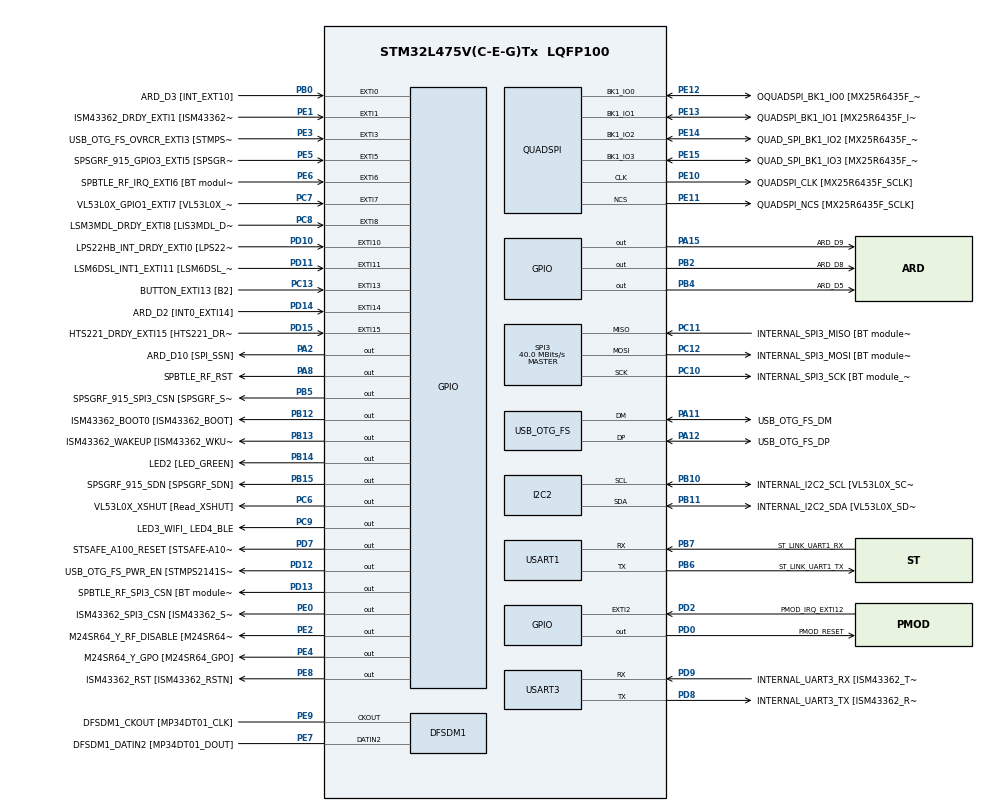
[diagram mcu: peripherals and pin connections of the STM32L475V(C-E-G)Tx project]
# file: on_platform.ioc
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Mcu.Family=STM32L4
Mcu.Name=STM32L475V(C-E-G)Tx
Mcu.Package=LQFP100
NVIC.EXTI15_10_IRQn=true\:0\:0\:false\:false\:true\:true\:true\:true
NVIC.EXTI9_5_IRQn=true\:0\:0\:false\:false\:true\:true\:true\:true
NVIC.PriorityGroup=NVIC_PRIORITYGROUP_4
PA0.GPIO_Label=ARD_D1 [UART4_TX]
PA0.Signal=UART4_TX
PA1.GPIO_Label=ARD_D0 [UART4_RX]
PA1.Signal=UART4_RX
PA10.GPIO_Label=USB_OTG_FS_ID
PA10.Signal=USB_OTG_FS_ID
PA11.GPIO_Label=USB_OTG_FS_DM
PA11.Mode=Device_Only
PA11.Signal=USB_OTG_FS_DM
PA12.GPIO_Label=USB_OTG_FS_DP
PA12.Mode=Device_Only
PA12.Signal=USB_OTG_FS_DP
PA13\ (JTMS-SWDIO).GPIO_Label=SYS_JTMS_SWDIO
PA13\ (JTMS-SWDIO).Mode=Serial_Wire
PA13\ (JTMS-SWDIO).Signal=SYS_JTMS-SWDIO
PA14\ (JTCK-SWCLK).GPIO_Label=SYS_JTCK_SWCLK
PA14\ (JTCK-SWCLK).Mode=Serial_Wire
PA14\ (JTCK-SWCLK).Signal=SYS_JTCK-SWCLK
PA15\ (JTDI).GPIO_Label=ARD_D9
PA15\ (JTDI).Signal=GPIO_Output
PA2.GPIO_Label=ARD_D10 [SPI_SSN]
PA2.Signal=GPIO_Output
PA3.GPIO_Label=ARD_D4
PA3.Signal=S_TIM2_CH4
PA4.GPIO_Label=ARD_D7
PA4.Signal=ADCx_IN9
PA5.GPIO_Label=ARD_D13 [SPI1_SCK]
PA5.Signal=SPI1_SCK
PA6.GPIO_Label=ARD_D12 [SPI1_MISO]
PA6.Signal=SPI1_MISO
PA7.GPIO_Label=ARD_D11 [SPI1_MOSI]
PA7.Signal=SPI1_MOSI
PA8.GPIO_Label=SPBTLE_RF_RST
PA8.Signal=GPIO_Output
PA9.GPIO_Label=USB_OTG_FS_VBUS [STMPS2141STR_OUT]
PA9.Signal=USB_OTG_FS_VBUS
PB0.GPIO_Label=ARD_D3 [INT_EXT10]
PB0.Signal=GPXTI0
PB1.GPIO_Label=ARD_D6 [ADC1_IN6]
PB1.Signal=ADCx_IN16
PB10.GPIO_Label=INTERNAL_I2C2_SCL [VL53L0X_SCL]
PB10.GPIO_Pu=GPIO_PULLUP
PB10.Mode=I2C
PB10.Signal=I2C2_SCL
PB11.GPIO_Label=INTERNAL_I2C2_SDA [VL53L0X_SDA]
PB11.GPIO_Pu=GPIO_PULLUP
PB11.Mode=I2C
PB11.Signal=I2C2_SDA
PB12.GPIO_Label=ISM43362_BOOT0 [ISM43362_BOOT]
PB12.Signal=GPIO_Output
PB13.GPIO_Label=ISM43362_WAKEUP [ISM43362_WKUP]
PB13.Signal=GPIO_Output
PB14.GPIO_Label=LED2 [LED_GREEN]
PB14.Signal=GPIO_Output
PB15.GPIO_Label=SPSGRF_915_SDN [SPSGRF_SDN]
PB15.Signal=GPIO_Output
PB2.GPIO_Label=ARD_D8
PB2.Signal=GPIO_Output
PB3\ (JTDO-TRACESWO).GPIO_Label=SYS_JTD0_SWO
PB3\ (JTDO-TRACESWO).Signal=SYS_JTDO-SWO
PB4\ (NJTRST).GPIO_Label=ARD_D5
PB4\ (NJTRST).Signal=GPIO_Output
PB5.GPIO_Label=SPSGRF_915_SPI3_CSN [SPSGRF_SPI_CS]
PB5.PinState=GPIO_PIN_SET
PB5.Signal=GPIO_Output
PB6.GPIO_Label=ST_LINK_UART1_TX
PB6.Mode=Asynchronous
PB6.Signal=USART1_TX
PB7.GPIO_Label=ST_LINK_UART1_RX
PB7.Mode=Asynchronous
PB7.Signal=USART1_RX
PB8.GPIO_Label=ARD_D15 [I2C1_SCL]
PB8.Signal=I2C1_SCL
PB9.GPIO_Label=ARD_D14 [I2C1_SDA]
PB9.Signal=I2C1_SDA
PC0.GPIO_Label=ARD_A5 [ADC]
PC0.Signal=ADCx_IN1
PC1.GPIO_Label=ARD_A4 [ADC]
PC1.Signal=ADCx_IN2
PC10.GPIO_Label=INTERNAL_SPI3_SCK [BT module_SPI_SCLK] [ISM43362_SCK]
PC10.Mode=Full_Duplex_Master
PC10.Signal=SPI3_SCK
PC11.GPIO_Label=INTERNAL_SPI3_MISO [BT module_SPI_MISO] [ISM43362_MISO]
PC11.Mode=Full_Duplex_Master
PC11.Signal=SPI3_MISO
PC12.GPIO_Label=INTERNAL_SPI3_MOSI [BT module_SPI_MOSI] [ISM43362_MOSI]
PC12.Mode=Full_Duplex_Master
PC12.Signal=SPI3_MOSI
PC13.GPIO_Label=BUTTON_EXTI13 [B2]
PC13.GPIO_ModeDefaultEXTI=GPIO_MODE_IT_FALLING
PC13.Signal=GPXTI13
PC14-OSC32_IN\ (PC14).Mode=LSE-External-Oscillator
PC14-OSC32_IN\ (PC14).Signal=RCC_OSC32_IN
PC15-OSC32_OUT\ (PC15).Mode=LSE-External-Oscillator
PC15-OSC32_OUT\ (PC15).Signal=RCC_OSC32_OUT
PC2.GPIO_Label=ARD_A3 [ADC]
PC2.Signal=ADCx_IN3
PC3.GPIO_Label=ARD_A2 [ADC]
PC3.Signal=ADCx_IN4
PC4.GPIO_Label=ARD_A1 [ADC]
PC4.Signal=ADCx_IN13
PC5.GPIO_Label=ARD_A0 [ADC]
PC5.Signal=ADCx_IN14
PC6.GPIO_Label=VL53L0X_XSHUT [Read_XSHUT]
PC6.Signal=GPIO_Output
PC7.GPIO_Label=VL53L0X_GPIO1_EXTI7 [VL53L0X_GPIO1]
PC7.Signal=GPXTI7
PC8.GPIO_Label=LSM3MDL_DRDY_EXTI8 [LIS3MDL_DRDY]
PC8.Signal=GPXTI8
PC9.GPIO_Label=LED3_WIFI_ LED4_BLE
PC9.Signal=GPIO_Output
PD0.GPIO_Label=PMOD_RESET
PD0.Signal=GPIO_Output
PD1.GPIO_Label=PMOD_SPI2_SCK
PD1.Signal=SPI2_SCK
PD10.GPIO_Label=LPS22HB_INT_DRDY_EXTI0 [LPS22HB_INT_DRDY] 
PD10.Signal=GPXTI10
PD11.GPIO_Label=LSM6DSL_INT1_EXTI11 [LSM6DSL_INT1]
PD11.Signal=GPXTI11
PD12.GPIO_Label=USB_OTG_FS_PWR_EN [STMPS2141STR_EN]
PD12.Signal=GPIO_Output
PD13.GPIO_Label=SPBTLE_RF_SPI3_CSN [BT module_SPI_CS]
PD13.PinState=GPIO_PIN_SET
PD13.Signal=GPIO_Output
PD14.GPIO_Label=ARD_D2 [INT0_EXTI14]
PD14.Signal=GPXTI14
PD15.GPIO_Label=HTS221_DRDY_EXTI15 [HTS221_DRDY]
PD15.Signal=GPXTI15
PD2.GPIO_Label=PMOD_IRQ_EXTI12
PD2.Signal=GPXTI2
PD3.GPIO_Label=PMOD_UART2_CTS
PD3.Signal=USART2_CTS
PD4.GPIO_Label=PMOD_UART2_RTS
PD4.Signal=USART2_RTS
PD5.GPIO_Label=PMOD_UART2_TX
PD5.Signal=USART2_TX
PD6.GPIO_Label=PMOD_UART2_RX
PD6.Signal=USART2_RX
PD7.GPIO_Label=STSAFE_A100_RESET [STSAFE-A100_RESET]
PD7.Signal=GPIO_Output
PD8.GPIO_Label=INTERNAL_UART3_TX [ISM43362_RX]
PD8.Mode=Asynchronous
PD8.Signal=USART3_TX
PD9.GPIO_Label=INTERNAL_UART3_RX [ISM43362_TX]
PD9.Mode=Asynchronous
PD9.Signal=USART3_RX
PE0.GPIO_Label=ISM43362_SPI3_CSN [ISM43362_SSN]
PE0.PinState=GPIO_PIN_SET
PE0.Signal=GPIO_Output
PE1.GPIO_Label=ISM43362_DRDY_EXTI1 [ISM43362_DATARDY]
PE1.Signal=GPXTI1
PE10.GPIO_Label=QUADSPI_CLK [MX25R6435F_SCLK]
PE10.Mode=Single Bank
PE10.Signal=QUADSPI_CLK
PE11.GPIO_Label=QUADSPI_NCS [MX25R6435F_SCLK]
PE11.Mode=Single Bank
PE11.Signal=QUADSPI_NCS
PE12.GPIO_Label=OQUADSPI_BK1_IO0 [MX25R6435F_IO0]
PE12.Mode=Single Bank
PE12.Signal=QUADSPI_BK1_IO0
PE13.GPIO_Label=QUADSPI_BK1_IO1 [MX25R6435F_IO1]
PE13.Mode=Single Bank
PE13.Signal=QUADSPI_BK1_IO1
PE14.GPIO_Label=QUAD_SPI_BK1_IO2 [MX25R6435F_IO2]
PE14.Mode=Single Bank
PE14.Signal=QUADSPI_BK1_IO2
PE15.GPIO_Label=QUAD_SPI_BK1_IO3 [MX25R6435F_IO3]
PE15.Mode=Single Bank
PE15.Signal=QUADSPI_BK1_IO3
PE2.GPIO_Label=M24SR64_Y_RF_DISABLE [M24SR64_RFDIS]
PE2.Signal=GPIO_Output
PE3.GPIO_Label=USB_OTG_FS_OVRCR_EXTI3 [STMPS2141STR_FAULT]
PE3.Signal=GPXTI3
PE4.GPIO_Label=M24SR64_Y_GPO [M24SR64_GPO]
PE4.Signal=GPIO_Output
PE5.GPIO_Label=SPSGRF_915_GPIO3_EXTI5 [SPSGRF_GPIO_3]
PE5.Signal=GPXTI5
PE6.GPIO_Label=SPBTLE_RF_IRQ_EXTI6 [BT module_SPI_IRQ]
PE6.Signal=GPXTI6
PE7.GPIO_Label=DFSDM1_DATIN2 [MP34DT01_DOUT]
PE7.Signal=S_DATAIN2DFSDM1
PE8.GPIO_Label=ISM43362_RST [ISM43362_RSTN]
PE8.Signal=GPIO_Output
PE9.GPIO_Label=DFSDM1_CKOUT [MP34DT01_CLK]
PE9.Signal=S_CKOUTDFSDM1
ProjectManager.HeapSize=0x200
ProjectManager.StackSize=0x400
ProjectManager.TargetToolchain=STM32CubeIDE
QUADSPI.ClockPrescaler=2
QUADSPI.FifoThreshold=4
QUADSPI.FlashSize=23
QUADSPI.SampleShifting=QSPI_SAMPLE_SHIFTING_HALFCYCLE
RCC.ADCFreq_Value=48000000
RCC.AHBFreq_Value=80000000
RCC.APB1Freq_Value=80000000
RCC.APB1TimFreq_Value=80000000
RCC.APB2Freq_Value=80000000
RCC.APB2TimFreq_Value=80000000
RCC.CortexFreq_Value=80000000
RCC.HCLKFreq_Value=80000000
RCC.HSE_VALUE=8000000
RCC.HSI_VALUE=16000000
RCC.MSI_VALUE=4000000
RCC.PLLN=40
RCC.PLLSAI1N=24
RCC.SYSCLKFreq_VALUE=80000000
RCC.SYSCLKSource=RCC_SYSCLKSOURCE_PLLCLK
RCC.USBFreq_Value=48000000
RCC.VCOOutputFreq_Value=160000000
SH.ADCx_IN1.0=ADC1_IN1
SH.ADCx_IN13.0=ADC1_IN13
SH.ADCx_IN14.0=ADC1_IN14
SH.ADCx_IN16.0=ADC1_IN16
SH.ADCx_IN2.0=ADC1_IN2
SH.ADCx_IN3.0=ADC1_IN3
SH.ADCx_IN4.0=ADC1_IN4
SH.ADCx_IN9.0=ADC1_IN9
SH.S_CKOUTDFSDM1.0=DFSDM1_CKOUT,CKOUT
SH.S_CKOUTDFSDM1.1=DFSDM1_CKOUT,PDM_SPI_Input_from_ch12_and_Internal_Clock
SH.S_DATAIN2DFSDM1.0=DFSDM1_DATIN2,PDM_SPI_Input_from_ch12_and_Internal_Clock
SH.S_TIM2_CH4.0=TIM2_CH4
SPI3.CalculateBaudRate=40.0 MBits/s
SPI3.Direction=SPI_DIRECTION_2LINES
SPI3.Mode=SPI_MODE_MASTER
SPI3.VirtualType=VM_MASTER
USART1.VirtualMode-Asynchronous=VM_ASYNC
USART3.VirtualMode-Asynchronous=VM_ASYNC
USB_OTG_FS.VirtualMode=Device_Only
VP_RNG_VS_RNG.Mode=RNG_Activate
board=B-L475E-IOT01A1

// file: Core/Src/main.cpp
/* USER CODE BEGIN Header */
/**
 ******************************************************************************
 * @file           : main.c
 * @brief          : Main program body
 ******************************************************************************
 * @attention
 *
 * Copyright (c) 2023 STMicroelectronics.
 * All rights reserved.
 *
 * This software is licensed under terms that can be found in the LICENSE file
 * in the root directory of this software component.
 * If no LICENSE file comes with this software, it is provided AS-IS.
 *
 ******************************************************************************
 */
/* USER CODE END Header */
#include "main.h"
#include "unity.h"

/* USER CODE BEGIN Includes */
#ifdef __cplusplus
extern "C"
{
#endif
void test_lalloc_1();
void test_random_1();
void test_random_2();
void test_random_3();
void test_random();

void setUp() {}
void tearDown() {}

#ifdef __cplusplus
}
#endif

/* USER CODE END Includes */

DFSDM_Channel_HandleTypeDef hdfsdm1_channel1;
I2C_HandleTypeDef hi2c2;
QSPI_HandleTypeDef hqspi;
RNG_HandleTypeDef hrng;
SPI_HandleTypeDef hspi3;
UART_HandleTypeDef huart1;
UART_HandleTypeDef huart3;
PCD_HandleTypeDef hpcd_USB_OTG_FS;

/* USER CODE BEGIN PV */
void myputchar( int a )
{
    ( &huart1 )->Instance->TDR = ( uint8_t ) a;
    while ( ( __HAL_UART_GET_FLAG( ( &huart1 ), UART_FLAG_TXE ) ? SET : RESET ) == RESET ) {};
};

/* USER CODE END PV */

void SystemClock_Config( void );
void PeriphCommonClock_Config( void );
static void MX_GPIO_Init( void );
static void MX_DFSDM1_Init( void );
static void MX_I2C2_Init( void );
static void MX_QUADSPI_Init( void );
static void MX_SPI3_Init( void );
static void MX_USART1_UART_Init( void );
static void MX_USART3_UART_Init( void );
static void MX_USB_OTG_FS_PCD_Init( void );
static void MX_RNG_Init( void );

int main( void )
{

    /* MCU Configuration--------------------------------------------------------*/

    /* Reset of all peripherals, Initializes the Flash interface and the Systick. */
    HAL_Init();

    /* Configure the system clock */
    SystemClock_Config();

    /* Configure the peripherals common clocks */
    PeriphCommonClock_Config();

    /* Initialize all configured peripherals */
    MX_GPIO_Init();
    MX_DFSDM1_Init();
    MX_I2C2_Init();
    MX_QUADSPI_Init();
    MX_SPI3_Init();
    MX_USART1_UART_Init();
    MX_USART3_UART_Init();
    MX_USB_OTG_FS_PCD_Init();
    MX_RNG_Init();

    /* Infinite loop */
    while ( 1 )
    {
        /* USER CODE BEGIN 3 */
        RUN_TEST( test_lalloc_1 );
        RUN_TEST( test_random_1 );
        RUN_TEST( test_random_2 );
        RUN_TEST( test_random_3 );
        RUN_TEST( test_random );
    }
    /* USER CODE END 3 */
}

void SystemClock_Config( void )
{
    RCC_OscInitTypeDef RCC_OscInitStruct = {0};
    RCC_ClkInitTypeDef RCC_ClkInitStruct = {0};

    /** Configure the main internal regulator output voltage
     */
    if ( HAL_PWREx_ControlVoltageScaling( PWR_REGULATOR_VOLTAGE_SCALE1 ) != HAL_OK )
    {
        Error_Handler();
    }

    /** Configure LSE Drive Capability
     */
    HAL_PWR_EnableBkUpAccess();
    __HAL_RCC_LSEDRIVE_CONFIG( RCC_LSEDRIVE_LOW );

    /** Initializes the RCC Oscillators according to the specified parameters
     * in the RCC_OscInitTypeDef structure.
     */
    RCC_OscInitStruct.OscillatorType = RCC_OSCILLATORTYPE_LSE | RCC_OSCILLATORTYPE_MSI;
    RCC_OscInitStruct.LSEState = RCC_LSE_ON;
    RCC_OscInitStruct.MSIState = RCC_MSI_ON;
    RCC_OscInitStruct.MSICalibrationValue = 0;
    RCC_OscInitStruct.MSIClockRange = RCC_MSIRANGE_6;
    RCC_OscInitStruct.PLL.PLLState = RCC_PLL_ON;
    RCC_OscInitStruct.PLL.PLLSource = RCC_PLLSOURCE_MSI;
    RCC_OscInitStruct.PLL.PLLM = 1;
    RCC_OscInitStruct.PLL.PLLN = 40;
    RCC_OscInitStruct.PLL.PLLP = RCC_PLLP_DIV7;
    RCC_OscInitStruct.PLL.PLLQ = RCC_PLLQ_DIV2;
    RCC_OscInitStruct.PLL.PLLR = RCC_PLLR_DIV2;
    if ( HAL_RCC_OscConfig( &RCC_OscInitStruct ) != HAL_OK )
    {
        Error_Handler();
    }

    /** Initializes the CPU, AHB and APB buses clocks
     */
    RCC_ClkInitStruct.ClockType = RCC_CLOCKTYPE_HCLK | RCC_CLOCKTYPE_SYSCLK | RCC_CLOCKTYPE_PCLK1 | RCC_CLOCKTYPE_PCLK2;
    RCC_ClkInitStruct.SYSCLKSource = RCC_SYSCLKSOURCE_PLLCLK;
    RCC_ClkInitStruct.AHBCLKDivider = RCC_SYSCLK_DIV1;
    RCC_ClkInitStruct.APB1CLKDivider = RCC_HCLK_DIV1;
    RCC_ClkInitStruct.APB2CLKDivider = RCC_HCLK_DIV1;

    if ( HAL_RCC_ClockConfig( &RCC_ClkInitStruct, FLASH_LATENCY_4 ) != HAL_OK )
    {
        Error_Handler();
    }

    /** Enable MSI Auto calibration
     */
    HAL_RCCEx_EnableMSIPLLMode();
}

void PeriphCommonClock_Config( void )
{
    RCC_PeriphCLKInitTypeDef PeriphClkInit = {0};

    /** Initializes the peripherals clock
     */
    PeriphClkInit.PeriphClockSelection = RCC_PERIPHCLK_USB | RCC_PERIPHCLK_RNG;
    PeriphClkInit.UsbClockSelection = RCC_USBCLKSOURCE_PLLSAI1;
    PeriphClkInit.RngClockSelection = RCC_RNGCLKSOURCE_PLLSAI1;
    PeriphClkInit.PLLSAI1.PLLSAI1Source = RCC_PLLSOURCE_MSI;
    PeriphClkInit.PLLSAI1.PLLSAI1M = 1;
    PeriphClkInit.PLLSAI1.PLLSAI1N = 24;
    PeriphClkInit.PLLSAI1.PLLSAI1P = RCC_PLLP_DIV7;
    PeriphClkInit.PLLSAI1.PLLSAI1Q = RCC_PLLQ_DIV2;
    PeriphClkInit.PLLSAI1.PLLSAI1R = RCC_PLLR_DIV2;
    PeriphClkInit.PLLSAI1.PLLSAI1ClockOut = RCC_PLLSAI1_48M2CLK;
    if ( HAL_RCCEx_PeriphCLKConfig( &PeriphClkInit ) != HAL_OK )
    {
        Error_Handler();
    }
}

static void MX_DFSDM1_Init( void )
{

    hdfsdm1_channel1.Instance = DFSDM1_Channel1;
    hdfsdm1_channel1.Init.OutputClock.Activation = ENABLE;
    hdfsdm1_channel1.Init.OutputClock.Selection = DFSDM_CHANNEL_OUTPUT_CLOCK_SYSTEM;
    hdfsdm1_channel1.Init.OutputClock.Divider = 2;
    hdfsdm1_channel1.Init.Input.Multiplexer = DFSDM_CHANNEL_EXTERNAL_INPUTS;
    hdfsdm1_channel1.Init.Input.DataPacking = DFSDM_CHANNEL_STANDARD_MODE;
    hdfsdm1_channel1.Init.Input.Pins = DFSDM_CHANNEL_FOLLOWING_CHANNEL_PINS;
    hdfsdm1_channel1.Init.SerialInterface.Type = DFSDM_CHANNEL_SPI_RISING;
    hdfsdm1_channel1.Init.SerialInterface.SpiClock = DFSDM_CHANNEL_SPI_CLOCK_INTERNAL;
    hdfsdm1_channel1.Init.Awd.FilterOrder = DFSDM_CHANNEL_FASTSINC_ORDER;
    hdfsdm1_channel1.Init.Awd.Oversampling = 1;
    hdfsdm1_channel1.Init.Offset = 0;
    hdfsdm1_channel1.Init.RightBitShift = 0x00;
    if ( HAL_DFSDM_ChannelInit( &hdfsdm1_channel1 ) != HAL_OK )
    {
        Error_Handler();
    }
}

static void MX_I2C2_Init( void )
{

    hi2c2.Instance = I2C2;
    hi2c2.Init.Timing = 0x00000E14;
    hi2c2.Init.OwnAddress1 = 0;
    hi2c2.Init.AddressingMode = I2C_ADDRESSINGMODE_7BIT;
    hi2c2.Init.DualAddressMode = I2C_DUALADDRESS_DISABLE;
    hi2c2.Init.OwnAddress2 = 0;
    hi2c2.Init.OwnAddress2Masks = I2C_OA2_NOMASK;
    hi2c2.Init.GeneralCallMode = I2C_GENERALCALL_DISABLE;
    hi2c2.Init.NoStretchMode = I2C_NOSTRETCH_DISABLE;
    if ( HAL_I2C_Init( &hi2c2 ) != HAL_OK )
    {
        Error_Handler();
    }

    /** Configure Analogue filter
     */
    if ( HAL_I2CEx_ConfigAnalogFilter( &hi2c2, I2C_ANALOGFILTER_ENABLE ) != HAL_OK )
    {
        Error_Handler();
    }

    /** Configure Digital filter
     */
    if ( HAL_I2CEx_ConfigDigitalFilter( &hi2c2, 0 ) != HAL_OK )
    {
        Error_Handler();
    }
}

static void MX_QUADSPI_Init( void )
{

    /* QUADSPI parameter configuration*/
    hqspi.Instance = QUADSPI;
    hqspi.Init.ClockPrescaler = 2;
    hqspi.Init.FifoThreshold = 4;
    hqspi.Init.SampleShifting = QSPI_SAMPLE_SHIFTING_HALFCYCLE;
    hqspi.Init.FlashSize = 23;
    hqspi.Init.ChipSelectHighTime = QSPI_CS_HIGH_TIME_1_CYCLE;
    hqspi.Init.ClockMode = QSPI_CLOCK_MODE_0;
    if ( HAL_QSPI_Init( &hqspi ) != HAL_OK )
    {
        Error_Handler();
    }
}

static void MX_RNG_Init( void )
{

    hrng.Instance = RNG;
    if ( HAL_RNG_Init( &hrng ) != HAL_OK )
    {
        Error_Handler();
    }
}

static void MX_SPI3_Init( void )
{

    /* SPI3 parameter configuration*/
    hspi3.Instance = SPI3;
    hspi3.Init.Mode = SPI_MODE_MASTER;
    hspi3.Init.Direction = SPI_DIRECTION_2LINES;
    hspi3.Init.DataSize = SPI_DATASIZE_4BIT;
    hspi3.Init.CLKPolarity = SPI_POLARITY_LOW;
    hspi3.Init.CLKPhase = SPI_PHASE_1EDGE;
    hspi3.Init.NSS = SPI_NSS_SOFT;
    hspi3.Init.BaudRatePrescaler = SPI_BAUDRATEPRESCALER_2;
    hspi3.Init.FirstBit = SPI_FIRSTBIT_MSB;
    hspi3.Init.TIMode = SPI_TIMODE_DISABLE;
    hspi3.Init.CRCCalculation = SPI_CRCCALCULATION_DISABLE;
    hspi3.Init.CRCPolynomial = 7;
    hspi3.Init.CRCLength = SPI_CRC_LENGTH_DATASIZE;
    hspi3.Init.NSSPMode = SPI_NSS_PULSE_ENABLE;
    if ( HAL_SPI_Init( &hspi3 ) != HAL_OK )
    {
        Error_Handler();
    }
}

static void MX_USART1_UART_Init( void )
{

    huart1.Instance = USART1;
    huart1.Init.BaudRate = 115200;
    huart1.Init.WordLength = UART_WORDLENGTH_8B;
    huart1.Init.StopBits = UART_STOPBITS_1;
    huart1.Init.Parity = UART_PARITY_NONE;
    huart1.Init.Mode = UART_MODE_TX_RX;
    huart1.Init.HwFlowCtl = UART_HWCONTROL_NONE;
    huart1.Init.OverSampling = UART_OVERSAMPLING_16;
    huart1.Init.OneBitSampling = UART_ONE_BIT_SAMPLE_DISABLE;
    huart1.AdvancedInit.AdvFeatureInit = UART_ADVFEATURE_NO_INIT;
    if ( HAL_UART_Init( &huart1 ) != HAL_OK )
    {
        Error_Handler();
    }
}

static void MX_USART3_UART_Init( void )
{

    huart3.Instance = USART3;
    huart3.Init.BaudRate = 115200;
    huart3.Init.WordLength = UART_WORDLENGTH_8B;
    huart3.Init.StopBits = UART_STOPBITS_1;
    huart3.Init.Parity = UART_PARITY_NONE;
    huart3.Init.Mode = UART_MODE_TX_RX;
    huart3.Init.HwFlowCtl = UART_HWCONTROL_NONE;
    huart3.Init.OverSampling = UART_OVERSAMPLING_16;
    huart3.Init.OneBitSampling = UART_ONE_BIT_SAMPLE_DISABLE;
    huart3.AdvancedInit.AdvFeatureInit = UART_ADVFEATURE_NO_INIT;
    if ( HAL_UART_Init( &huart3 ) != HAL_OK )
    {
        Error_Handler();
    }
}

static void MX_USB_OTG_FS_PCD_Init( void )
{

    hpcd_USB_OTG_FS.Instance = USB_OTG_FS;
    hpcd_USB_OTG_FS.Init.dev_endpoints = 6;
    hpcd_USB_OTG_FS.Init.speed = PCD_SPEED_FULL;
    hpcd_USB_OTG_FS.Init.phy_itface = PCD_PHY_EMBEDDED;
    hpcd_USB_OTG_FS.Init.Sof_enable = DISABLE;
    hpcd_USB_OTG_FS.Init.low_power_enable = DISABLE;
    hpcd_USB_OTG_FS.Init.lpm_enable = DISABLE;
    hpcd_USB_OTG_FS.Init.battery_charging_enable = DISABLE;
    hpcd_USB_OTG_FS.Init.use_dedicated_ep1 = DISABLE;
    hpcd_USB_OTG_FS.Init.vbus_sensing_enable = DISABLE;
    if ( HAL_PCD_Init( &hpcd_USB_OTG_FS ) != HAL_OK )
    {
        Error_Handler();
    }
}

static void MX_GPIO_Init( void )
{
    GPIO_InitTypeDef GPIO_InitStruct = {0};

    /* GPIO Ports Clock Enable */
    __HAL_RCC_GPIOE_CLK_ENABLE();
    __HAL_RCC_GPIOC_CLK_ENABLE();
    __HAL_RCC_GPIOA_CLK_ENABLE();
    __HAL_RCC_GPIOB_CLK_ENABLE();
    __HAL_RCC_GPIOD_CLK_ENABLE();

    /*Configure GPIO pin Output Level */
    HAL_GPIO_WritePin( GPIOE, M24SR64_Y_RF_DISABLE_Pin | M24SR64_Y_GPO_Pin | ISM43362_RST_Pin, GPIO_PIN_RESET );

    /*Configure GPIO pin Output Level */
    HAL_GPIO_WritePin( GPIOA, ARD_D10_Pin | SPBTLE_RF_RST_Pin | ARD_D9_Pin, GPIO_PIN_RESET );

    /*Configure GPIO pin Output Level */
    HAL_GPIO_WritePin( GPIOB, ARD_D8_Pin | ISM43362_BOOT0_Pin | ISM43362_WAKEUP_Pin | LED2_Pin | SPSGRF_915_SDN_Pin | ARD_D5_Pin, GPIO_PIN_RESET );

    /*Configure GPIO pin Output Level */
    HAL_GPIO_WritePin( GPIOD, USB_OTG_FS_PWR_EN_Pin | PMOD_RESET_Pin | STSAFE_A100_RESET_Pin, GPIO_PIN_RESET );

    /*Configure GPIO pin Output Level */
    HAL_GPIO_WritePin( SPBTLE_RF_SPI3_CSN_GPIO_Port, SPBTLE_RF_SPI3_CSN_Pin, GPIO_PIN_SET );

    /*Configure GPIO pin Output Level */
    HAL_GPIO_WritePin( GPIOC, VL53L0X_XSHUT_Pin | LED3_WIFI__LED4_BLE_Pin, GPIO_PIN_RESET );

    /*Configure GPIO pin Output Level */
    HAL_GPIO_WritePin( SPSGRF_915_SPI3_CSN_GPIO_Port, SPSGRF_915_SPI3_CSN_Pin, GPIO_PIN_SET );

    /*Configure GPIO pin Output Level */
    HAL_GPIO_WritePin( ISM43362_SPI3_CSN_GPIO_Port, ISM43362_SPI3_CSN_Pin, GPIO_PIN_SET );

    /*Configure GPIO pins : M24SR64_Y_RF_DISABLE_Pin M24SR64_Y_GPO_Pin ISM43362_RST_Pin ISM43362_SPI3_CSN_Pin */
    GPIO_InitStruct.Pin = M24SR64_Y_RF_DISABLE_Pin | M24SR64_Y_GPO_Pin | ISM43362_RST_Pin | ISM43362_SPI3_CSN_Pin;
    GPIO_InitStruct.Mode = GPIO_MODE_OUTPUT_PP;
    GPIO_InitStruct.Pull = GPIO_NOPULL;
    GPIO_InitStruct.Speed = GPIO_SPEED_FREQ_LOW;
    HAL_GPIO_Init( GPIOE, &GPIO_InitStruct );

    /*Configure GPIO pins : USB_OTG_FS_OVRCR_EXTI3_Pin SPSGRF_915_GPIO3_EXTI5_Pin SPBTLE_RF_IRQ_EXTI6_Pin ISM43362_DRDY_EXTI1_Pin */
    GPIO_InitStruct.Pin = USB_OTG_FS_OVRCR_EXTI3_Pin | SPSGRF_915_GPIO3_EXTI5_Pin | SPBTLE_RF_IRQ_EXTI6_Pin | ISM43362_DRDY_EXTI1_Pin;
    GPIO_InitStruct.Mode = GPIO_MODE_IT_RISING;
    GPIO_InitStruct.Pull = GPIO_NOPULL;
    HAL_GPIO_Init( GPIOE, &GPIO_InitStruct );

    /*Configure GPIO pin : BUTTON_EXTI13_Pin */
    GPIO_InitStruct.Pin = BUTTON_EXTI13_Pin;
    GPIO_InitStruct.Mode = GPIO_MODE_IT_FALLING;
    GPIO_InitStruct.Pull = GPIO_NOPULL;
    HAL_GPIO_Init( BUTTON_EXTI13_GPIO_Port, &GPIO_InitStruct );

    /*Configure GPIO pins : ARD_A5_Pin ARD_A4_Pin ARD_A3_Pin ARD_A2_Pin
                             ARD_A1_Pin ARD_A0_Pin */
    GPIO_InitStruct.Pin = ARD_A5_Pin | ARD_A4_Pin | ARD_A3_Pin | ARD_A2_Pin | ARD_A1_Pin | ARD_A0_Pin;
    GPIO_InitStruct.Mode = GPIO_MODE_ANALOG_ADC_CONTROL;
    GPIO_InitStruct.Pull = GPIO_NOPULL;
    HAL_GPIO_Init( GPIOC, &GPIO_InitStruct );

    /*Configure GPIO pins : ARD_D1_Pin ARD_D0_Pin */
    GPIO_InitStruct.Pin = ARD_D1_Pin | ARD_D0_Pin;
    GPIO_InitStruct.Mode = GPIO_MODE_AF_PP;
    GPIO_InitStruct.Pull = GPIO_NOPULL;
    GPIO_InitStruct.Speed = GPIO_SPEED_FREQ_VERY_HIGH;
    GPIO_InitStruct.Alternate = GPIO_AF8_UART4;
    HAL_GPIO_Init( GPIOA, &GPIO_InitStruct );

    /*Configure GPIO pins : ARD_D10_Pin SPBTLE_RF_RST_Pin ARD_D9_Pin */
    GPIO_InitStruct.Pin = ARD_D10_Pin | SPBTLE_RF_RST_Pin | ARD_D9_Pin;
    GPIO_InitStruct.Mode = GPIO_MODE_OUTPUT_PP;
    GPIO_InitStruct.Pull = GPIO_NOPULL;
    GPIO_InitStruct.Speed = GPIO_SPEED_FREQ_LOW;
    HAL_GPIO_Init( GPIOA, &GPIO_InitStruct );

    /*Configure GPIO pin : ARD_D4_Pin */
    GPIO_InitStruct.Pin = ARD_D4_Pin;
    GPIO_InitStruct.Mode = GPIO_MODE_AF_PP;
    GPIO_InitStruct.Pull = GPIO_NOPULL;
    GPIO_InitStruct.Speed = GPIO_SPEED_FREQ_LOW;
    GPIO_InitStruct.Alternate = GPIO_AF1_TIM2;
    HAL_GPIO_Init( ARD_D4_GPIO_Port, &GPIO_InitStruct );

    /*Configure GPIO pin : ARD_D7_Pin */
    GPIO_InitStruct.Pin = ARD_D7_Pin;
    GPIO_InitStruct.Mode = GPIO_MODE_ANALOG_ADC_CONTROL;
    GPIO_InitStruct.Pull = GPIO_NOPULL;
    HAL_GPIO_Init( ARD_D7_GPIO_Port, &GPIO_InitStruct );

    /*Configure GPIO pins : ARD_D13_Pin ARD_D12_Pin ARD_D11_Pin */
    GPIO_InitStruct.Pin = ARD_D13_Pin | ARD_D12_Pin | ARD_D11_Pin;
    GPIO_InitStruct.Mode = GPIO_MODE_AF_PP;
    GPIO_InitStruct.Pull = GPIO_NOPULL;
    GPIO_InitStruct.Speed = GPIO_SPEED_FREQ_VERY_HIGH;
    GPIO_InitStruct.Alternate = GPIO_AF5_SPI1;
    HAL_GPIO_Init( GPIOA, &GPIO_InitStruct );

    /*Configure GPIO pin : ARD_D3_Pin */
    GPIO_InitStruct.Pin = ARD_D3_Pin;
    GPIO_InitStruct.Mode = GPIO_MODE_IT_RISING;
    GPIO_InitStruct.Pull = GPIO_NOPULL;
    HAL_GPIO_Init( ARD_D3_GPIO_Port, &GPIO_InitStruct );

    /*Configure GPIO pin : ARD_D6_Pin */
    GPIO_InitStruct.Pin = ARD_D6_Pin;
    GPIO_InitStruct.Mode = GPIO_MODE_ANALOG_ADC_CONTROL;
    GPIO_InitStruct.Pull = GPIO_NOPULL;
    HAL_GPIO_Init( ARD_D6_GPIO_Port, &GPIO_InitStruct );

    /*Configure GPIO pins : ARD_D8_Pin ISM43362_BOOT0_Pin ISM43362_WAKEUP_Pin LED2_Pin
                             SPSGRF_915_SDN_Pin ARD_D5_Pin SPSGRF_915_SPI3_CSN_Pin */
    GPIO_InitStruct.Pin = ARD_D8_Pin | ISM43362_BOOT0_Pin | ISM43362_WAKEUP_Pin | LED2_Pin | SPSGRF_915_SDN_Pin | ARD_D5_Pin | SPSGRF_915_SPI3_CSN_Pin;
    GPIO_InitStruct.Mode = GPIO_MODE_OUTPUT_PP;
    GPIO_InitStruct.Pull = GPIO_NOPULL;
    GPIO_InitStruct.Speed = GPIO_SPEED_FREQ_LOW;
    HAL_GPIO_Init( GPIOB, &GPIO_InitStruct );

    /*Configure GPIO pins : LPS22HB_INT_DRDY_EXTI0_Pin LSM6DSL_INT1_EXTI11_Pin ARD_D2_Pin HTS221_DRDY_EXTI15_Pin
                             PMOD_IRQ_EXTI12_Pin */
    GPIO_InitStruct.Pin = LPS22HB_INT_DRDY_EXTI0_Pin | LSM6DSL_INT1_EXTI11_Pin | ARD_D2_Pin | HTS221_DRDY_EXTI15_Pin | PMOD_IRQ_EXTI12_Pin;
    GPIO_InitStruct.Mode = GPIO_MODE_IT_RISING;
    GPIO_InitStruct.Pull = GPIO_NOPULL;
    HAL_GPIO_Init( GPIOD, &GPIO_InitStruct );

    /*Configure GPIO pins : USB_OTG_FS_PWR_EN_Pin SPBTLE_RF_SPI3_CSN_Pin PMOD_RESET_Pin STSAFE_A100_RESET_Pin */
    GPIO_InitStruct.Pin = USB_OTG_FS_PWR_EN_Pin | SPBTLE_RF_SPI3_CSN_Pin | PMOD_RESET_Pin | STSAFE_A100_RESET_Pin;
    GPIO_InitStruct.Mode = GPIO_MODE_OUTPUT_PP;
    GPIO_InitStruct.Pull = GPIO_NOPULL;
    GPIO_InitStruct.Speed = GPIO_SPEED_FREQ_LOW;
    HAL_GPIO_Init( GPIOD, &GPIO_InitStruct );

    /*Configure GPIO pins : VL53L0X_XSHUT_Pin LED3_WIFI__LED4_BLE_Pin */
    GPIO_InitStruct.Pin = VL53L0X_XSHUT_Pin | LED3_WIFI__LED4_BLE_Pin;
    GPIO_InitStruct.Mode = GPIO_MODE_OUTPUT_PP;
    GPIO_InitStruct.Pull = GPIO_NOPULL;
    GPIO_InitStruct.Speed = GPIO_SPEED_FREQ_LOW;
    HAL_GPIO_Init( GPIOC, &GPIO_InitStruct );

    /*Configure GPIO pins : VL53L0X_GPIO1_EXTI7_Pin LSM3MDL_DRDY_EXTI8_Pin */
    GPIO_InitStruct.Pin = VL53L0X_GPIO1_EXTI7_Pin | LSM3MDL_DRDY_EXTI8_Pin;
    GPIO_InitStruct.Mode = GPIO_MODE_IT_RISING;
    GPIO_InitStruct.Pull = GPIO_NOPULL;
    HAL_GPIO_Init( GPIOC, &GPIO_InitStruct );

    /*Configure GPIO pin : PMOD_SPI2_SCK_Pin */
    GPIO_InitStruct.Pin = PMOD_SPI2_SCK_Pin;
    GPIO_InitStruct.Mode = GPIO_MODE_AF_PP;
    GPIO_InitStruct.Pull = GPIO_NOPULL;
    GPIO_InitStruct.Speed = GPIO_SPEED_FREQ_VERY_HIGH;
    GPIO_InitStruct.Alternate = GPIO_AF5_SPI2;
    HAL_GPIO_Init( PMOD_SPI2_SCK_GPIO_Port, &GPIO_InitStruct );

    /*Configure GPIO pins : PMOD_UART2_CTS_Pin PMOD_UART2_RTS_Pin PMOD_UART2_TX_Pin PMOD_UART2_RX_Pin */
    GPIO_InitStruct.Pin = PMOD_UART2_CTS_Pin | PMOD_UART2_RTS_Pin | PMOD_UART2_TX_Pin | PMOD_UART2_RX_Pin;
    GPIO_InitStruct.Mode = GPIO_MODE_AF_PP;
    GPIO_InitStruct.Pull = GPIO_NOPULL;
    GPIO_InitStruct.Speed = GPIO_SPEED_FREQ_VERY_HIGH;
    GPIO_InitStruct.Alternate = GPIO_AF7_USART2;
    HAL_GPIO_Init( GPIOD, &GPIO_InitStruct );

    /*Configure GPIO pins : ARD_D15_Pin ARD_D14_Pin */
    GPIO_InitStruct.Pin = ARD_D15_Pin | ARD_D14_Pin;
    GPIO_InitStruct.Mode = GPIO_MODE_AF_OD;
    GPIO_InitStruct.Pull = GPIO_NOPULL;
    GPIO_InitStruct.Speed = GPIO_SPEED_FREQ_VERY_HIGH;
    GPIO_InitStruct.Alternate = GPIO_AF4_I2C1;
    HAL_GPIO_Init( GPIOB, &GPIO_InitStruct );

    /* EXTI interrupt init*/
    HAL_NVIC_SetPriority( EXTI9_5_IRQn, 0, 0 );
    HAL_NVIC_EnableIRQ( EXTI9_5_IRQn );

    HAL_NVIC_SetPriority( EXTI15_10_IRQn, 0, 0 );
    HAL_NVIC_EnableIRQ( EXTI15_10_IRQn );

}

void Error_Handler( void )
{
    __disable_irq();
    while ( 1 )
    {
    }
}
